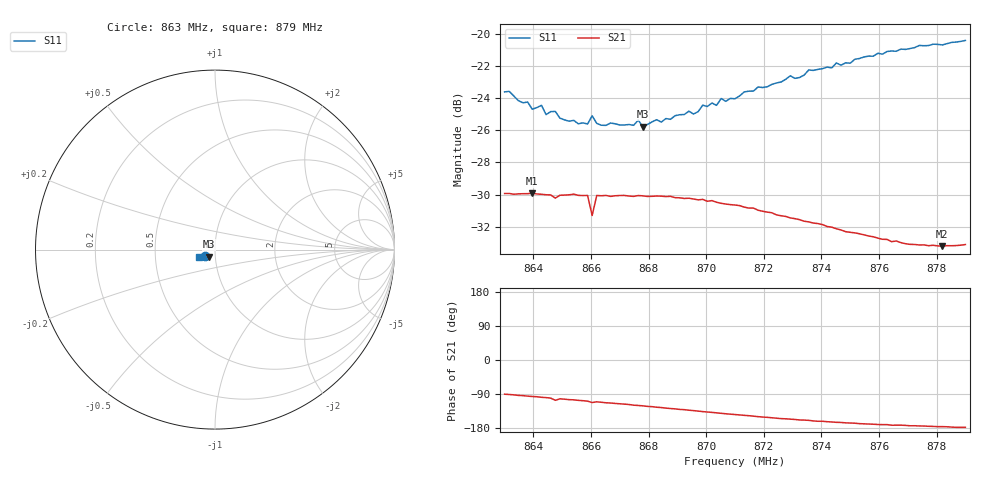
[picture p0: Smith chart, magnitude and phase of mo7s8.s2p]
# HZ S RI R 50
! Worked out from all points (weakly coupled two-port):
!   101 points, 863 MHz to 879 MHz, reference 50 ohm
!   highest |S21| = -29.92 dB at 863.96 MHz (marker M1); lowest = -33.2 dB at 878.2 MHz (marker M2)
!   lowest |S11| = -25.8 dB at 867.8 MHz (marker M3), VSWR 1.11, Z = 46.6 - j3.62 ohm
!   |S11| at or under -10 dB: start of sweep to end of sweep
!   S12 and S22 are empty: the file has one direction only
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8.63e8  -0.0565 -0.034  -0.000139 -0.0318  0 0  0 0
8.6396e8  -0.0481 -0.033  -0.00351 -0.0317  0 0  0 0
8.6428e8  -0.0485 -0.0352  -0.00464 -0.0313  0 0  0 0
8.6444e8  -0.0461 -0.032  -0.00507 -0.0312  0 0  0 0
8.6476e8  -0.0464 -0.0336  -0.00869 -0.0296  0 0  0 0
8.6492e8  -0.0438 -0.0328  -0.00679 -0.0307  0 0  0 0
8.6572e8  -0.0395 -0.0351  -0.00937 -0.03  0 0  0 0
8.6588e8  -0.0389 -0.0351  -0.01 -0.0298  0 0  0 0
8.6604e8  -0.0417 -0.0368  -0.0103 -0.0252  0 0  0 0
8.662e8  -0.0396 -0.0347  -0.0109 -0.0294  0 0  0 0
8.6748e8  -0.0338 -0.0395  -0.0152 -0.0272  0 0  0 0
8.6764e8  -0.0356 -0.0405  -0.0157 -0.0272  0 0  0 0
8.678e8  -0.0337 -0.0387  -0.0161 -0.0269  0 0  0 0
8.6844e8  -0.0327 -0.0419  -0.0181 -0.0255  0 0  0 0
8.6988e8  -0.034 -0.0494  -0.022 -0.0212  0 0  0 0
8.7036e8  -0.0342 -0.0492  -0.0227 -0.0195  0 0  0 0
8.7052e8  -0.0362 -0.0514  -0.023 -0.0188  0 0  0 0
8.71e8  -0.0356 -0.0518  -0.0237 -0.0173  0 0  0 0
8.7372e8  -0.0495 -0.0589  -0.0243 -0.00849  0 0  0 0
8.7644e8  -0.0694 -0.0548  -0.0223 -0.00309  0 0  0 0
8.782e8  -0.0811 -0.0442  -0.0218 -0.0016  0 0  0 0
8.79e8  -0.0871 -0.0389  -0.0221 -0.000857  0 0  0 0
